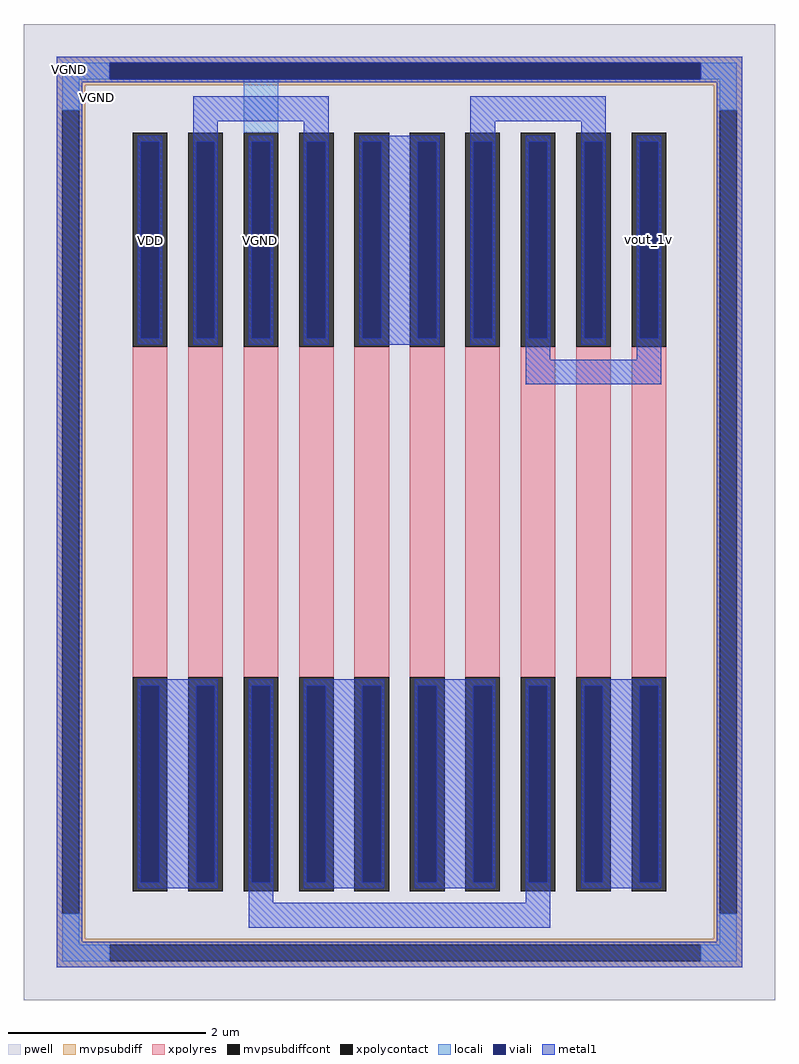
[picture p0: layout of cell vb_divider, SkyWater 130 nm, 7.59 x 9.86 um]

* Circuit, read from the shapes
.subckt vb_divider VDD VGND vout_1v
XR1 VDD n1 VGND sky130_fd_pr__res_xhigh_po w=0.35 l=3.34
XR2 n2 n1 VGND sky130_fd_pr__res_xhigh_po w=0.35 l=3.34
XR3 VGND n3 VGND sky130_fd_pr__res_xhigh_po w=0.35 l=3.34
XR4 n2 n4 VGND sky130_fd_pr__res_xhigh_po w=0.35 l=3.34
XR5 n5 n4 VGND sky130_fd_pr__res_xhigh_po w=0.35 l=3.34
XR6 n5 n6 VGND sky130_fd_pr__res_xhigh_po w=0.35 l=3.34
XR7 n7 n6 VGND sky130_fd_pr__res_xhigh_po w=0.35 l=3.34
XR8 vout_1v n3 VGND sky130_fd_pr__res_xhigh_po w=0.35 l=3.34
XR9 n7 n8 VGND sky130_fd_pr__res_xhigh_po w=0.35 l=3.34
XR10 vout_1v n8 VGND sky130_fd_pr__res_xhigh_po w=0.35 l=3.34
.ends

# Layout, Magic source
magic
tech sky130A
magscale 1 2
<< pwell >>
rect 0 0 1518 1972
<< mvpsubdiff >>
rect 66 1894 1452 1906
rect 66 1860 174 1894
rect 1368 1860 1452 1894
rect 66 1848 1452 1860
rect 66 1798 124 1848
rect 66 174 78 1798
rect 112 174 124 1798
rect 1394 1798 1452 1848
rect 66 124 124 174
rect 1394 174 1406 1798
rect 1440 174 1452 1798
rect 1394 124 1452 174
rect 66 112 1452 124
rect 66 78 174 112
rect 1368 78 1452 112
rect 66 66 1452 78
<< mvpsubdiffcont >>
rect 174 1860 1368 1894
rect 78 174 112 1798
rect 1406 174 1440 1798
rect 174 78 1368 112
<< xpolycontact >>
rect 220 1320 290 1752
rect 220 220 290 652
rect 332 1320 402 1752
rect 332 220 402 652
rect 444 1320 514 1752
rect 444 220 514 652
rect 556 1320 626 1752
rect 556 220 626 652
rect 668 1320 738 1752
rect 668 220 738 652
rect 780 1320 850 1752
rect 780 220 850 652
rect 892 1320 962 1752
rect 892 220 962 652
rect 1004 1320 1074 1752
rect 1004 220 1074 652
rect 1116 1320 1186 1752
rect 1116 220 1186 652
rect 1228 1320 1298 1752
rect 1228 220 1298 652
<< xpolyres >>
rect 220 652 290 1320
rect 332 652 402 1320
rect 444 652 514 1320
rect 556 652 626 1320
rect 668 652 738 1320
rect 780 652 850 1320
rect 892 652 962 1320
rect 1004 652 1074 1320
rect 1116 652 1186 1320
rect 1228 652 1298 1320
<< locali >>
rect 78 1860 174 1894
rect 1368 1860 1440 1894
rect 78 1798 112 1860
rect 444 1752 514 1860
rect 1406 1798 1440 1860
rect 78 112 112 174
rect 1406 112 1440 174
rect 78 78 174 112
rect 1368 78 1440 112
<< viali >>
rect 174 1860 1368 1894
rect 236 1337 274 1734
rect 348 1337 386 1734
rect 460 1337 498 1734
rect 572 1337 610 1734
rect 684 1337 722 1734
rect 796 1337 834 1734
rect 908 1337 946 1734
rect 1020 1337 1058 1734
rect 1132 1337 1170 1734
rect 1244 1337 1282 1734
rect 236 238 274 635
rect 348 238 386 635
rect 460 238 498 635
rect 572 238 610 635
rect 684 238 722 635
rect 796 238 834 635
rect 908 238 946 635
rect 1020 238 1058 635
rect 1132 238 1170 635
rect 1244 238 1282 635
<< metal1 >>
rect 66 1894 1452 1906
rect 66 1860 174 1894
rect 1368 1860 1452 1894
rect 66 1854 1452 1860
rect 66 118 118 1854
rect 342 1776 616 1826
rect 230 1734 280 1746
rect 230 1337 236 1734
rect 274 1337 280 1734
rect 230 1325 280 1337
rect 342 1734 392 1776
rect 342 1337 348 1734
rect 386 1337 392 1734
rect 342 1324 392 1337
rect 454 1734 504 1746
rect 454 1337 460 1734
rect 498 1337 504 1734
rect 454 1324 504 1337
rect 566 1734 616 1776
rect 902 1776 1176 1826
rect 566 1337 572 1734
rect 610 1337 616 1734
rect 566 1324 616 1337
rect 678 1734 840 1746
rect 678 1337 684 1734
rect 722 1337 796 1734
rect 834 1337 840 1734
rect 678 1324 840 1337
rect 902 1734 952 1776
rect 902 1337 908 1734
rect 946 1337 952 1734
rect 902 1324 952 1337
rect 1014 1734 1064 1746
rect 1014 1337 1020 1734
rect 1058 1337 1064 1734
rect 1014 1294 1064 1337
rect 1126 1734 1176 1776
rect 1126 1337 1132 1734
rect 1170 1337 1176 1734
rect 1126 1324 1176 1337
rect 1238 1734 1288 1746
rect 1238 1337 1244 1734
rect 1282 1337 1288 1734
rect 1238 1294 1288 1337
rect 1014 1244 1288 1294
rect 230 635 392 648
rect 230 238 236 635
rect 274 238 348 635
rect 386 238 392 635
rect 230 226 392 238
rect 454 635 504 648
rect 454 238 460 635
rect 498 238 504 635
rect 454 196 504 238
rect 566 635 728 648
rect 566 238 572 635
rect 610 238 684 635
rect 722 238 728 635
rect 566 226 728 238
rect 790 635 952 648
rect 790 238 796 635
rect 834 238 908 635
rect 946 238 952 635
rect 790 226 952 238
rect 1014 635 1064 648
rect 1014 238 1020 635
rect 1058 238 1064 635
rect 1014 196 1064 238
rect 1126 635 1288 648
rect 1126 238 1132 635
rect 1170 238 1244 635
rect 1282 238 1288 635
rect 1126 226 1288 238
rect 454 146 1064 196
rect 1400 118 1452 1854
rect 66 66 1452 118
<< labels >>
flabel metal1 230 1325 280 1746 0 FreeSans 320 90 0 0 VDD
port 1 nsew power default
flabel metal1 1238 1326 1288 1746 0 FreeSans 320 90 0 0 vout_1v
port 3 nsew analog default
flabel metal1 454 1324 504 1746 0 FreeSans 320 90 0 0 VGND
port 2 nsew ground default
flabel pwell 124 1798 174 1848 0 FreeSans 160 0 0 0 VGND
flabel metal1 66 1854 118 1906 0 FreeSans 160 0 0 0 VGND
<< end >>
